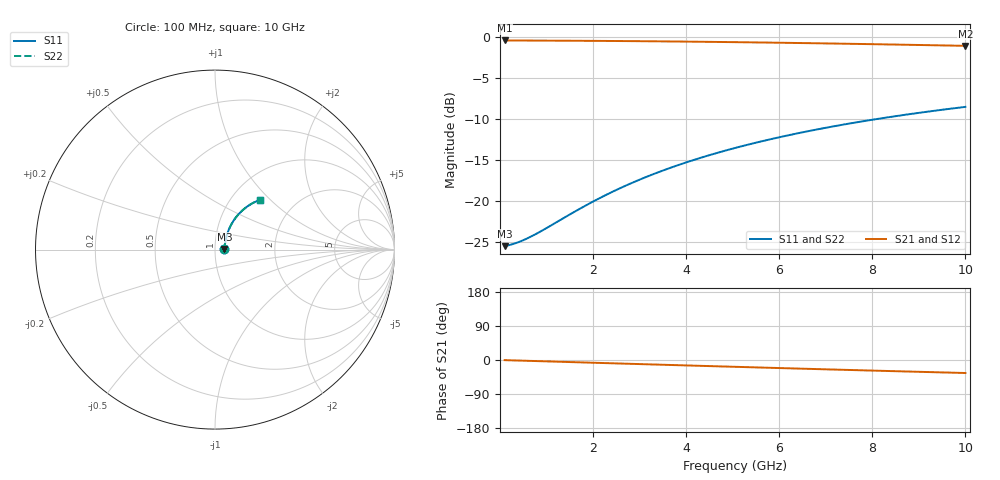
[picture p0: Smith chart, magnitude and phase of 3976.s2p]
# Hz S RI R 50.00
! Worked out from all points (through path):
!   100 points, 100 MHz to 10 GHz, reference 50 ohm
!   highest |S21| = -0.47 dB at 100 MHz (marker M1); lowest = -1.1 dB at 10 GHz (marker M2)
!   group delay of S21, straight-line fit = 9.56 ps
!   lowest |S11| = -25.5 dB at 100 MHz (marker M3), VSWR 1.11, Z = 55.6 + j0.425 ohm
!   |S11| at or under -10 dB: start of sweep to 8.152 GHz
!   |S22| runs from -25.5 to -8.6 dB; largest |S21 - S12| = 0
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1e8  0.0527 0.00381  0.9473 -0.00598  0.9473 -0.00598  0.0527 0.00381
3e8  0.0534 0.0114  0.9465 -0.0179  0.9465 -0.0179  0.0534 0.0114
4e8  0.0538 0.0152  0.9462 -0.0239  0.9462 -0.0239  0.0538 0.0152
5e8  0.0542 0.019  0.9458 -0.0298  0.9458 -0.0298  0.0542 0.019
7e8  0.055 0.0266  0.9448 -0.0417  0.9448 -0.0417  0.055 0.0266
9e8  0.056 0.0341  0.9438 -0.0536  0.9438 -0.0536  0.056 0.0341
1.8e9  0.0625 0.0675  0.9366 -0.1065  0.9366 -0.1065  0.0625 0.0675
2.2e9  0.0666 0.082  0.9322 -0.1297  0.9322 -0.1297  0.0666 0.082
2.6e9  0.0713 0.0963  0.9271 -0.1527  0.9271 -0.1527  0.0713 0.0963
3e9  0.0766 0.1102  0.9211 -0.1753  0.9211 -0.1753  0.0766 0.1102
3.4e9  0.0827 0.1239  0.9145 -0.1976  0.9145 -0.1976  0.0827 0.1239
3.8e9  0.0893 0.1371  0.9071 -0.2196  0.9071 -0.2196  0.0893 0.1371
4.2e9  0.0966 0.15  0.8991 -0.2411  0.8991 -0.2411  0.0966 0.15
4.6e9  0.1044 0.1624  0.8904 -0.2622  0.8904 -0.2622  0.1044 0.1624
5.1e9  0.115 0.1772  0.8786 -0.288  0.8786 -0.288  0.115 0.1772
5.5e9  0.124 0.1885  0.8686 -0.308  0.8686 -0.308  0.124 0.1885
5.9e9  0.1335 0.1993  0.8579 -0.3276  0.8579 -0.3276  0.1335 0.1993
6.7e9  0.1538 0.2193  0.8352 -0.365  0.8352 -0.365  0.1538 0.2193
7.5e9  0.1755 0.237  0.8106 -0.4003  0.8106 -0.4003  0.1755 0.237
8.4e9  0.2014 0.254  0.7812 -0.4371  0.7812 -0.4371  0.2014 0.254
9.2e9  0.2253 0.2667  0.7538 -0.4674  0.7538 -0.4674  0.2253 0.2667
1e10  0.2497 0.2769  0.7254 -0.4954  0.7254 -0.4954  0.2497 0.2769
